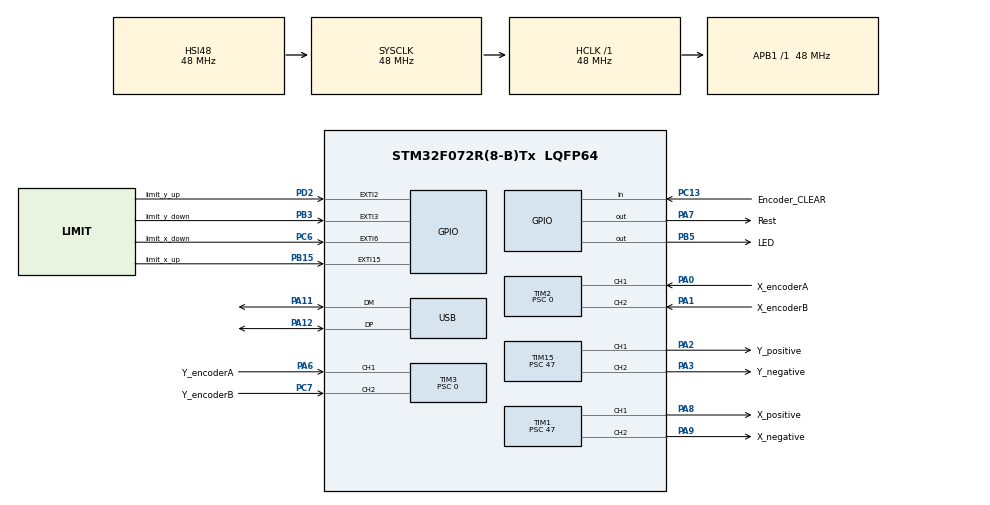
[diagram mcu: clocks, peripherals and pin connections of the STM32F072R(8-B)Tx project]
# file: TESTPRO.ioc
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Mcu.Family=STM32F0
Mcu.Name=STM32F072R(8-B)Tx
Mcu.Package=LQFP64
NVIC.EXTI4_15_IRQn=true\:0\:0\:false\:false\:true\:true\:true\:true
NVIC.TIM14_IRQn=true\:3\:0\:true\:false\:true\:true\:true\:true
NVIC.TIM17_IRQn=true\:3\:0\:false\:false\:true\:false\:true\:true
NVIC.TIM2_IRQn=true\:2\:0\:true\:false\:true\:true\:true\:true
NVIC.TIM3_IRQn=true\:2\:0\:true\:false\:true\:true\:true\:true
NVIC.TimeBase=TIM17_IRQn
NVIC.TimeBaseIP=TIM17
NVIC.USB_IRQn=true\:0\:0\:false\:false\:true\:false\:true\:true
PA0.GPIO_Label=X_encoderA
PA0.GPIO_ModeDefaultPP=GPIO_MODE_AF_PP
PA0.Signal=S_TIM2_CH1_ETR
PA1.GPIO_Label=X_encoderB
PA1.GPIO_ModeDefaultPP=GPIO_MODE_AF_PP
PA1.Signal=S_TIM2_CH2
PA11.Mode=Device
PA11.Signal=USB_DM
PA12.Mode=Device
PA12.Signal=USB_DP
PA13.Mode=Serial_Wire
PA13.Signal=SYS_SWDIO
PA14.Mode=Serial_Wire
PA14.Signal=SYS_SWCLK
PA2.GPIO_Label=Y_positive
PA2.Signal=S_TIM15_CH1
PA3.GPIO_Label=Y_negative
PA3.Signal=S_TIM15_CH2
PA6.GPIO_Label=Y_encoderA
PA6.Signal=S_TIM3_CH1
PA7.GPIO_Label=Rest
PA7.Signal=GPIO_Output
PA8.GPIO_Label=X_positive
PA8.Signal=S_TIM1_CH1
PA9.GPIO_Label=X_negative
PA9.Signal=S_TIM1_CH2
PB15.GPIO_Label=limit_x_up
PB15.GPIO_ModeDefaultEXTI=GPIO_MODE_IT_FALLING
PB15.GPIO_PuPd=GPIO_PULLUP
PB15.Signal=GPXTI15
PB3.GPIO_Label=limit_y_down
PB3.Signal=GPXTI3
PB5.GPIO_Label=LED
PB5.Signal=GPIO_Output
PC13.GPIO_Label=Encoder_CLEAR
PC13.Signal=GPIO_Input
PC6.GPIO_Label=limit_x_down
PC6.GPIO_ModeDefaultEXTI=GPIO_MODE_IT_FALLING
PC6.GPIO_PuPd=GPIO_PULLUP
PC6.Signal=GPXTI6
PC7.GPIO_Label=Y_encoderB
PC7.Signal=S_TIM3_CH2
PD2.GPIO_Label=limit_y_up
PD2.Signal=GPXTI2
PF0-OSC_IN.Mode=HSE-External-Oscillator
PF0-OSC_IN.Signal=RCC_OSC_IN
PF1-OSC_OUT.Mode=HSE-External-Oscillator
PF1-OSC_OUT.Signal=RCC_OSC_OUT
ProjectManager.HeapSize=0x400
ProjectManager.StackSize=0x400
ProjectManager.TargetToolchain=STM32CubeIDE
RCC.AHBFreq_Value=48000000
RCC.APB1Freq_Value=48000000
RCC.APB1TimFreq_Value=48000000
RCC.HCLKFreq_Value=48000000
RCC.HSE_VALUE=16000000
RCC.PLLMUL=RCC_PLL_MUL3
RCC.PLLSourceVirtual=RCC_PLLSOURCE_HSE
RCC.SYSCLKFreq_VALUE=48000000
RCC.SYSCLKSource=RCC_SYSCLKSOURCE_HSI48
SH.S_TIM15_CH1.0=TIM15_CH1,PWM Generation1 CH1
SH.S_TIM15_CH2.0=TIM15_CH2,PWM Generation2 CH2
SH.S_TIM1_CH1.0=TIM1_CH1,PWM Generation1 CH1
SH.S_TIM1_CH2.0=TIM1_CH2,PWM Generation2 CH2
SH.S_TIM2_CH1_ETR.0=TIM2_CH1,Encoder_Interface
SH.S_TIM2_CH2.0=TIM2_CH2,Encoder_Interface
SH.S_TIM3_CH1.0=TIM3_CH1,Encoder_Interface
SH.S_TIM3_CH2.0=TIM3_CH2,Encoder_Interface
TIM1.Channel-PWM\ Generation1\ CH1=TIM_CHANNEL_1
TIM1.Channel-PWM\ Generation2\ CH2=TIM_CHANNEL_2
TIM1.Period=999
TIM1.Prescaler=47
TIM14.Period=20000
TIM14.Prescaler=47
TIM15.Channel-PWM\ Generation1\ CH1=TIM_CHANNEL_1
TIM15.Channel-PWM\ Generation2\ CH2=TIM_CHANNEL_2
TIM15.Period=999
TIM15.Prescaler=47
TIM2.EncoderMode=TIM_ENCODERMODE_TI12
TIM2.Period=20000-1
TIM2.Prescaler=0
TIM3.EncoderMode=TIM_ENCODERMODE_TI12
TIM3.Period=20000-1
TIM3.Prescaler=0
USB_DEVICE.CLASS_NAME_FS=CDC
USB_DEVICE.VirtualMode=Cdc
USB_DEVICE.VirtualModeFS=Cdc_FS
VP_SYS_VS_tim17.Mode=TIM17
VP_TIM14_VS_ClockSourceINT.Mode=Enable_Timer
VP_TIM15_VS_ClockSourceINT.Mode=Internal
VP_TIM1_VS_ClockSourceINT.Mode=Internal
VP_USB_DEVICE_VS_USB_DEVICE_CDC_FS.Mode=CDC_FS
board=custom

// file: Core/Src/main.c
/* USER CODE BEGIN Header */
/**
  ******************************************************************************
  * @file           : main.c
  * @brief          : Main program body
  ******************************************************************************
  * @attention
  *
  * Copyright (c) 2023 STMicroelectronics.
  * All rights reserved.
  *
  * This software is licensed under terms that can be found in the LICENSE file
  * in the root directory of this software component.
  * If no LICENSE file comes with this software, it is provided AS-IS.
  *
  ******************************************************************************
  */
/* USER CODE END Header */
#include "main.h"
#include "tim.h"
#include "usb_device.h"
#include "gpio.h"

/* USER CODE BEGIN Includes */
#include "dj_pid.h"
#include "dj_con.h"
#include "bsp_debug.h"
/* USER CODE END Includes */

/* USER CODE BEGIN PTD */
extern Motor motor[M_NUM];
extern receive_data R_M[M_NUM];
extern send_data S_M[M_NUM];
/* USER CODE END PTD */

void SystemClock_Config(void);

int main(void)
{

  /* MCU Configuration--------------------------------------------------------*/

  /* Reset of all peripherals, Initializes the Flash interface and the Systick. */
  HAL_Init();

  /* Configure the system clock */
  SystemClock_Config();

  /* Initialize all configured peripherals */
  MX_GPIO_Init();
  MX_USB_DEVICE_Init();
  MX_TIM3_Init();
  MX_TIM2_Init();
  MX_TIM14_Init();
  MX_TIM1_Init();
  MX_TIM15_Init();
  /* USER CODE BEGIN 2 */
  Motor_Init();
  PidInit();
  debug_init();
  /* USER CODE END 2 */

  /* Infinite loop */
  while (1)
  {

    /* USER CODE BEGIN 3 */
	  HAL_GPIO_TogglePin(GPIOB,LED_Pin);
	  for(int i = 0; i < 2;i++){
		  ControlDjStatus(R_M[i].R_status, i);
//		  S_M[i].S_status = 1;
//		  debug_send_state(S_M[i].S_status, i);
//		  HAL_Delay(100); //��ʱ500����
//		  debug_send_speed(S_M[i].S_speed, i);
//		  HAL_Delay(100); //��ʱ500����
//		  debug_send_pos(S_M[i].S_position, i);
//		  HAL_Delay(200); //��ʱ500����
	  }
		  HAL_Delay(1000); //��ʱ500����
  }
  /* USER CODE END 3 */
}

void SystemClock_Config(void)
{
  RCC_OscInitTypeDef RCC_OscInitStruct = {0};
  RCC_ClkInitTypeDef RCC_ClkInitStruct = {0};
  RCC_PeriphCLKInitTypeDef PeriphClkInit = {0};

  /** Initializes the RCC Oscillators according to the specified parameters
  * in the RCC_OscInitTypeDef structure.
  */
  RCC_OscInitStruct.OscillatorType = RCC_OSCILLATORTYPE_HSI48;
  RCC_OscInitStruct.HSI48State = RCC_HSI48_ON;
  RCC_OscInitStruct.PLL.PLLState = RCC_PLL_NONE;
  if (HAL_RCC_OscConfig(&RCC_OscInitStruct) != HAL_OK)
  {
    Error_Handler();
  }

  /** Initializes the CPU, AHB and APB buses clocks
  */
  RCC_ClkInitStruct.ClockType = RCC_CLOCKTYPE_HCLK|RCC_CLOCKTYPE_SYSCLK
                              |RCC_CLOCKTYPE_PCLK1;
  RCC_ClkInitStruct.SYSCLKSource = RCC_SYSCLKSOURCE_HSI48;
  RCC_ClkInitStruct.AHBCLKDivider = RCC_SYSCLK_DIV1;
  RCC_ClkInitStruct.APB1CLKDivider = RCC_HCLK_DIV1;

  if (HAL_RCC_ClockConfig(&RCC_ClkInitStruct, FLASH_LATENCY_1) != HAL_OK)
  {
    Error_Handler();
  }
  PeriphClkInit.PeriphClockSelection = RCC_PERIPHCLK_USB;
  PeriphClkInit.UsbClockSelection = RCC_USBCLKSOURCE_HSI48;

  if (HAL_RCCEx_PeriphCLKConfig(&PeriphClkInit) != HAL_OK)
  {
    Error_Handler();
  }
}

/* USER CODE BEGIN 4 */
void HAL_GPIO_EXTI_Callback(uint16_t GPIO_Pin)
{
	if(GPIO_Pin == limit_x_up_Pin || GPIO_Pin == limit_x_down_Pin){
		__HAL_TIM_SetCompare(&htim1, TIM_CHANNEL_1, RELOAD_VALUE);
		__HAL_TIM_SetCompare(&htim1, TIM_CHANNEL_2, RELOAD_VALUE);
	}
	if(GPIO_Pin == limit_y_up_Pin || GPIO_Pin == limit_y_down_Pin){
		__HAL_TIM_SetCompare(&htim15, TIM_CHANNEL_1, RELOAD_VALUE);
		__HAL_TIM_SetCompare(&htim15, TIM_CHANNEL_2, RELOAD_VALUE);
	}

}
/* USER CODE END 4 */

void HAL_TIM_PeriodElapsedCallback(TIM_HandleTypeDef *htim)
{
  /* USER CODE BEGIN Callback 0 */
	if (htim->Instance == htim2.Instance) {
		if(0 == __HAL_TIM_IS_TIM_COUNTING_DOWN(&htim2)){
			motor[0].overflowNum++;
		} else {
			motor[0].overflowNum--;
		}
	  }
	if (htim->Instance == htim3.Instance) {
		if(0 == __HAL_TIM_IS_TIM_COUNTING_DOWN(&htim3)){
			motor[1].overflowNum++;
		} else {
			motor[1].overflowNum--;
		}
	  }
	if(htim->Instance==htim14.Instance) {
		motor[0].direct = __HAL_TIM_IS_TIM_COUNTING_DOWN(&htim2);
		motor[1].direct = __HAL_TIM_IS_TIM_COUNTING_DOWN(&htim3);
		for (int i = 0; i < 2; i++) {
			Motor_Contorl(i);
		}
	}

  /* USER CODE END Callback 0 */
  if (htim->Instance == TIM17) {
    HAL_IncTick();
  }
}

void Error_Handler(void)
{
  __disable_irq();
  while (1)
  {
  }
}
